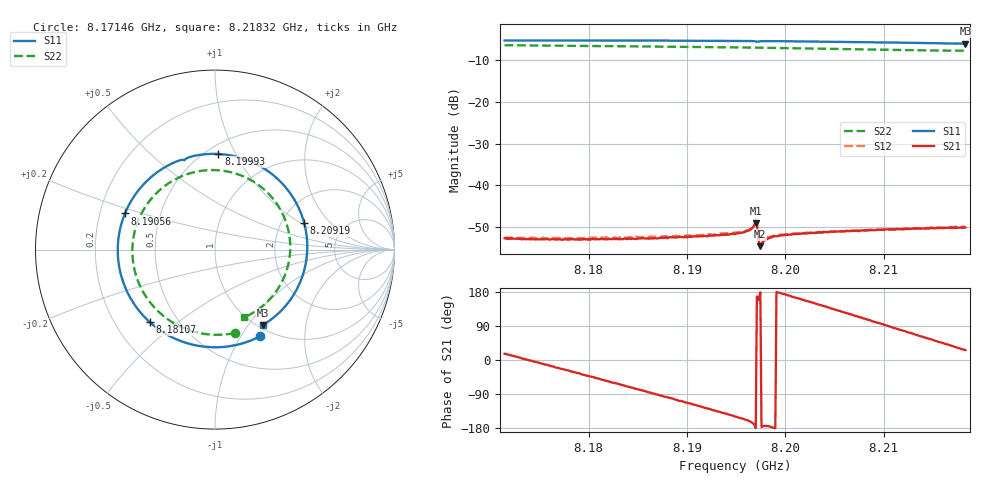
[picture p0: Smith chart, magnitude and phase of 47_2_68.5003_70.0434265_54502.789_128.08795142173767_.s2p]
#  HZ  S  RI  R  50.00
! Rohde & Schwarz Vector Network Analyzer
! Rohde-Schwarz,ZNB20-2Port,1311601062101988,3.16
! Created: UTC 3/20/2024, 5:05:50 PM
! freq[Hz]  re:S11  im:S11  re:S21  im:S21  re:S12  im:S12  re:S22  im:S22
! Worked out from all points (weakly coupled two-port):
!   401 points, 8.17146 GHz to 8.21832 GHz, reference 50 ohm
!   highest |S21| = -49.04 dB at 8.197 GHz (marker M1); lowest = -54.6 dB at 8.19747 GHz (marker M2)
!   lowest |S11| = -6.1 dB at 8.21832 GHz (marker M3), VSWR 2.98, Z = 52.7 - j58.8 ohm
!   |S11| at or under -10 dB: nowhere
!   |S22| runs from -7.7 to -6.4 dB; largest |S21 - S12| = 0.0002
!   S11 on the Smith chart (normalised r, x): 8.17146 GHz: 0.89, -1.22; 8.18107 GHz: 0.35, -0.40; 8.19056 GHz: 0.31, +0.18; 8.19993 GHz: 0.57, +0.86; 8.20919 GHz: 2.66, +1.07; 8.21832 GHz: 1.05, -1.18
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8.171464e9  0.2508 -0.4832  0.00222 0.00065  0.00227 0.000712  0.1099 -0.4647
8.175447e9  -0.0113 -0.5445  0.00221 -0.000438  0.00232 -0.000419  -0.116 -0.4578
8.179313e9  -0.2653 -0.4747  0.00177 -0.00137  0.00184 -0.00141  -0.3061 -0.3535
8.18107e9  -0.3637 -0.404  0.00146 -0.00171  0.00147 -0.0018  -0.3721 -0.2804
8.184233e9  -0.4925 -0.2282  0.000726 -0.00216  0.000719 -0.00229  -0.4464 -0.1214
8.187162e9  -0.541 -0.0311  -9.65e-05 -0.00232  -0.000116 -0.00242  -0.458 0.0403
8.190559e9  -0.5016 0.2016  -0.00108 -0.00217  -0.00115 -0.00219  -0.3999 0.2188
8.192668e9  -0.4274 0.329  -0.00169 -0.00182  -0.00177 -0.00183  -0.3289 0.3119
8.194894e9  -0.3143 0.4366  -0.00223 -0.00133  -0.00235 -0.00134  -0.2301 0.387
8.196182e9  -0.2348 0.4823  -0.00267 -0.001  -0.00274 -0.000914  -0.1643 0.4169
8.196885e9  -0.1858 0.4997  -0.00334 -0.000462  -0.00341 -0.000327  -0.1264 0.4286
8.197002e9  -0.1769 0.5001  -0.00353 -2.58e-05  -0.00357 6.81e-05  -0.12 0.4302
8.197471e9  -0.1557 0.5099  -0.00186 5.41e-05  -0.00188 0.000147  -0.0944 0.4357
8.197588e9  -0.1473 0.5134  -0.00199 -0.000119  -0.00202 -3.82e-05  -0.0881 0.4371
8.198525e9  -0.0806 0.5284  -0.00237 -0.000131  -0.00242 -1.73e-05  -0.035 0.4428
8.199931e9  0.019 0.5328  -0.00252 0.000283  -0.00254 0.000428  0.0447 0.4392
8.202743e9  0.211 0.4858  -0.00236 0.00129  -0.00233 0.0014  0.1967 0.3892
8.20614e9  0.3995 0.3393  -0.00161 0.00232  -0.00154 0.00238  0.3425 0.2577
8.209186e9  0.4971 0.1473  -0.0005 0.00287  -0.000448 0.00287  0.412 0.0916
8.210592e9  0.5133 0.0483  7.61e-05 0.00294  0.000129 0.00296  0.4191 0.00677
8.214223e9  0.464 -0.2048  0.00156 0.0026  0.00164 0.00261  0.358 -0.2065
8.218324e9  0.2667 -0.42  0.0028 0.00138  0.00294 0.00131  0.1637 -0.3768
